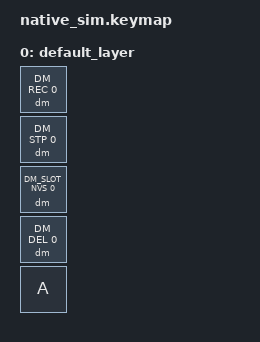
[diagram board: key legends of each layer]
/*
 * Copyright (c) 2026 The ZMK Contributors
 * SPDX-License-Identifier: MIT
 *
 * Test: Record macro, save, then delete it.
 *
 * Sequence:
 * 1. Record A, save to slot 0
 * 2. Play slot 0 (should work)
 * 3. Press DEL to enter delete mode
 * 4. Press slot 0 to delete
 * 5. Play slot 0 again (should be empty)
 *
 * Expected: First playback works, second fails (empty)
 */

#include <behaviors.dtsi>
#include <dt-bindings/zmk/keys.h>
#include <dt-bindings/zmk/kscan_mock.h>
#include <dt-bindings/zmk/dynamic_macros.h>
#include "../behavior_keymap.dtsi"

/ {
    keymap {
        compatible = "zmk,keymap";
        default_layer {
            bindings = <
                &dm DM_REC 0
                &dm DM_STP 0
                &dm DM_SLOT_NVS 0
                &dm DM_DEL 0
                &kp A
            >;
        };
    };
};

&kscan {
    events = <
        /* Record A */
        ZMK_MOCK_PRESS(0,0,10)
        ZMK_MOCK_RELEASE(0,0,20)
        ZMK_MOCK_PRESS(0,4,100)
        ZMK_MOCK_RELEASE(0,4,150)
        ZMK_MOCK_PRESS(0,1,200)
        ZMK_MOCK_RELEASE(0,1,210)

        /* Assign to slot 0 */
        ZMK_MOCK_PRESS(0,2,300)
        ZMK_MOCK_RELEASE(0,2,310)

        /* Play slot 0 - should emit A */
        ZMK_MOCK_PRESS(0,2,2000)
        ZMK_MOCK_RELEASE(0,2,2010)

        /* Enter delete mode */
        ZMK_MOCK_PRESS(0,3,3000)
        ZMK_MOCK_RELEASE(0,3,3010)

        /* Delete slot 0 */
        ZMK_MOCK_PRESS(0,2,3100)
        ZMK_MOCK_RELEASE(0,2,3110)

        /* Try play slot 0 - should be empty now */
        ZMK_MOCK_PRESS(0,2,5000)
        ZMK_MOCK_RELEASE(0,2,5010)
    >;
};
